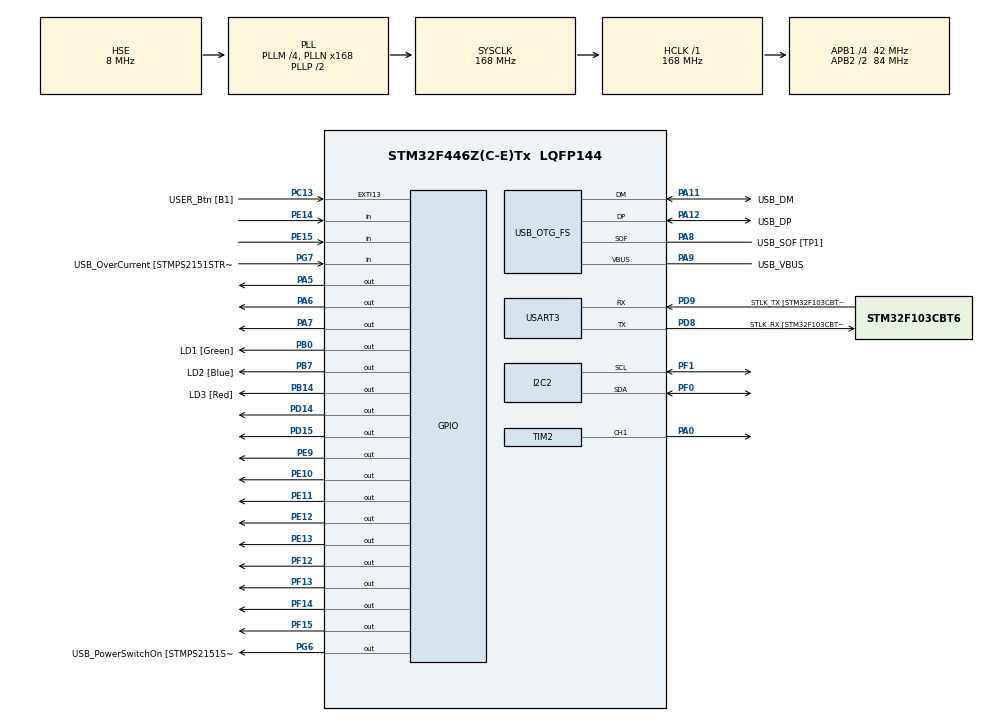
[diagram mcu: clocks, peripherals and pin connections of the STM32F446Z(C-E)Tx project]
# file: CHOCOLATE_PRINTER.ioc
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Mcu.Family=STM32F4
Mcu.Name=STM32F446Z(C-E)Tx
Mcu.Package=LQFP144
NVIC.EXTI15_10_IRQn=true\:0\:0\:false\:false\:true\:true\:true\:true
NVIC.PriorityGroup=NVIC_PRIORITYGROUP_4
PA0-WKUP.Signal=S_TIM2_CH1_ETR
PA10.GPIO_Label=USB_ID
PA10.Signal=USB_OTG_FS_ID
PA11.GPIO_Label=USB_DM
PA11.Mode=Device_Only
PA11.Signal=USB_OTG_FS_DM
PA12.GPIO_Label=USB_DP
PA12.Mode=Device_Only
PA12.Signal=USB_OTG_FS_DP
PA13.GPIO_Label=TMS
PA13.Mode=Serial_Wire
PA13.Signal=SYS_JTMS-SWDIO
PA14.GPIO_Label=TCK
PA14.Mode=Serial_Wire
PA14.Signal=SYS_JTCK-SWCLK
PA5.Signal=GPIO_Output
PA6.Signal=GPIO_Output
PA7.Signal=GPIO_Output
PA8.GPIO_Label=USB_SOF [TP1]
PA8.Mode=Activate_SOF_FS
PA8.Signal=USB_OTG_FS_SOF
PA9.GPIO_Label=USB_VBUS
PA9.Mode=Activate_VBUS
PA9.Signal=USB_OTG_FS_VBUS
PB0.GPIO_Label=LD1 [Green]
PB0.Signal=GPIO_Output
PB14.GPIO_Label=LD3 [Red]
PB14.Signal=GPIO_Output
PB7.GPIO_Label=LD2 [Blue]
PB7.Signal=GPIO_Output
PC13.GPIO_Label=USER_Btn [B1]
PC13.Signal=GPXTI13
PC14-OSC32_IN.Mode=LSE-External-Oscillator
PC14-OSC32_IN.Signal=RCC_OSC32_IN
PC15-OSC32_OUT.Mode=LSE-External-Oscillator
PC15-OSC32_OUT.Signal=RCC_OSC32_OUT
PD14.Signal=GPIO_Output
PD15.Signal=GPIO_Output
PD8.GPIO_Label=STLK_RX [STM32F103CBT6_PA3]
PD8.Mode=Asynchronous
PD8.Signal=USART3_TX
PD9.GPIO_Label=STLK_TX [STM32F103CBT6_PA2]
PD9.Mode=Asynchronous
PD9.Signal=USART3_RX
PE10.Signal=GPIO_Output
PE11.Signal=GPIO_Output
PE12.Signal=GPIO_Output
PE13.Signal=GPIO_Output
PE14.Signal=GPIO_Input
PE15.Signal=GPIO_Input
PE9.Signal=GPIO_Output
PF0.Mode=I2C
PF0.Signal=I2C2_SDA
PF1.Mode=I2C
PF1.Signal=I2C2_SCL
PF12.Signal=GPIO_Output
PF13.Signal=GPIO_Output
PF14.Signal=GPIO_Output
PF15.Signal=GPIO_Output
PG6.GPIO_Label=USB_PowerSwitchOn [STMPS2151STR_EN]
PG6.Signal=GPIO_Output
PG7.GPIO_Label=USB_OverCurrent [STMPS2151STR_FAULT]
PG7.Signal=GPIO_Input
PH0-OSC_IN.GPIO_Label=MCO [STM32F103CBT6_PA8]
PH0-OSC_IN.Mode=HSE-External-Clock-Source
PH0-OSC_IN.Signal=RCC_OSC_IN
PH1-OSC_OUT.Mode=HSE-External-Clock-Source
PH1-OSC_OUT.Signal=RCC_OSC_OUT
ProjectManager.HeapSize=0x200
ProjectManager.StackSize=0x400
ProjectManager.TargetToolchain=STM32CubeIDE
RCC.48MHZClocksFreq_Value=24000000
RCC.AHBFreq_Value=168000000
RCC.APB1CLKDivider=RCC_HCLK_DIV4
RCC.APB1Freq_Value=42000000
RCC.APB1TimFreq_Value=84000000
RCC.APB2CLKDivider=RCC_HCLK_DIV2
RCC.APB2Freq_Value=84000000
RCC.APB2TimFreq_Value=168000000
RCC.CortexFreq_Value=168000000
RCC.HCLKFreq_Value=168000000
RCC.HSE_VALUE=8000000
RCC.HSI_VALUE=16000000
RCC.PLLM=4
RCC.PLLMUL=RCC_PLL_MUL9
RCC.PLLN=168
RCC.PLLQ=7
RCC.PRESCALERUSB=RCC_USBCLKSOURCE_PLL_DIV1_5
RCC.SYSCLKFreq_VALUE=168000000
RCC.SYSCLKSource=RCC_SYSCLKSOURCE_PLLCLK
RCC.SYSCLKSourceVirtual=RCC_SYSCLKSOURCE_PLLCLK
RCC.USBFreq_Value=48000000
RCC.VCOOutputFreq_Value=336000000
SH.S_TIM2_CH1_ETR.0=TIM2_CH1,PWM Generation1 CH1
TIM1.Prescaler=168-1
TIM2.Channel-PWM\ Generation1\ CH1=TIM_CHANNEL_1
TIM2.Period=20000-1
TIM2.Prescaler=168-1
USART3.VirtualMode=VM_ASYNC
USB_OTG_FS.VirtualMode=Device_Only
VP_TIM1_VS_ClockSourceINT.Mode=Internal
VP_TIM2_VS_ClockSourceINT.Mode=Internal
board=NUCLEO-F446ZE

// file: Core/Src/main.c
/* USER CODE BEGIN Header */
/**
  ******************************************************************************
  * @file           : main.c
  * @brief          : Main program body
  ******************************************************************************
  * @attention
  *
  * Copyright (c) 2026 STMicroelectronics.
  * All rights reserved.
  *
  * This software is licensed under terms that can be found in the LICENSE file
  * in the root directory of this software component.
  * If no LICENSE file comes with this software, it is provided AS-IS.
  *
  ******************************************************************************
  */

/*
 * SSD1306 Skeleton Code uses ECE342 Lab Code:
 *
 * ssd1306.c
 * fonts.h
 * ssd1306.h
 *
 * Author: ECE342 Labs
 *
 */
/* USER CODE END Header */
#include "main.h"
#include "image_data.h"
#include "imageConvert.h"
#include <stdbool.h>

I2C_HandleTypeDef hi2c2;

TIM_HandleTypeDef htim1;
TIM_HandleTypeDef htim2;

UART_HandleTypeDef huart3;

PCD_HandleTypeDef hpcd_USB_OTG_FS;

void SystemClock_Config(void);
static void MX_GPIO_Init(void);
static void MX_TIM1_Init(void);
static void MX_USART3_UART_Init(void);
static void MX_USB_OTG_FS_PCD_Init(void);
static void MX_TIM2_Init(void);
static void MX_I2C2_Init(void);

/* USER CODE BEGIN 0 */
#define DIR_PIN_X GPIO_PIN_15
#define DIR_PORT_X GPIOF
#define STEP_PIN_X GPIO_PIN_13
#define STEP_PORT_X GPIOE
#define MS1_PORT_X GPIOF
#define MS1_PIN_X GPIO_PIN_13
#define MS2_PORT_X GPIOE
#define MS2_PIN_X GPIO_PIN_9
#define MS3_PORT_X GPIOE
#define MS3_PIN_X GPIO_PIN_11

#define DIR_PIN_Y GPIO_PIN_6
#define DIR_PORT_Y GPIOA
#define STEP_PIN_Y GPIO_PIN_5
#define STEP_PORT_Y GPIOA

#define DIR_PIN_EXTRUDE GPIO_PIN_12
#define DIR_PORT_EXTRUDE GPIOE
#define STEP_PIN_EXTRUDE GPIO_PIN_10
#define STEP_PORT_EXTRUDE GPIOE

#define ENDSTOPPER_PIN_INPUT_X GPIO_PIN_14
#define ENDSTOPPER_PORT_INPUT_X GPIOE

#define ENDSTOPPER_PIN_INPUT_Y GPIO_PIN_15
#define ENDSTOPPER_PORT_INPUT_Y GPIOE

bool run = false;

// Function to set servo angle
void Set_Servo_Angle(TIM_HandleTypeDef *htim, uint32_t channel, uint8_t angle)
{
    uint32_t pulse = 500 + (angle * (2500 - 500) / 180);
    __HAL_TIM_SET_COMPARE(htim, channel, pulse);
}

void microDelay (uint16_t delay)
{
  __HAL_TIM_SET_COUNTER(&htim1, 0);
  while (__HAL_TIM_GET_COUNTER(&htim1) < delay);
}

void step_X (int steps, uint8_t direction, uint16_t delay) {
 // Set the motor direction
 HAL_GPIO_WritePin(DIR_PORT_X, DIR_PIN_X, direction ? GPIO_PIN_SET : GPIO_PIN_RESET);
 for(int x = 0; x < steps; x++) {
   HAL_GPIO_WritePin(STEP_PORT_X, STEP_PIN_X, GPIO_PIN_SET);
   microDelay(10);
   HAL_GPIO_WritePin(STEP_PORT_X, STEP_PIN_X, GPIO_PIN_RESET);
   microDelay(delay);
 }
}

void step_Y (int steps, uint8_t direction, uint16_t delay) {
  HAL_GPIO_WritePin(DIR_PORT_Y, DIR_PIN_Y, direction ? GPIO_PIN_SET : GPIO_PIN_RESET);
  for(int x=0; x<steps; x++) {
    HAL_GPIO_WritePin(STEP_PORT_Y, STEP_PIN_Y, GPIO_PIN_SET);
    microDelay(10); // Fixed short pulse
    HAL_GPIO_WritePin(STEP_PORT_Y, STEP_PIN_Y, GPIO_PIN_RESET);
    microDelay(delay); // Speed controlstep_X(1, 0, 10);
  }
}

void step_EXTRUDE (int steps, uint8_t direction, uint16_t delay) {
  HAL_GPIO_WritePin(DIR_PORT_EXTRUDE, DIR_PIN_EXTRUDE, direction ? GPIO_PIN_SET : GPIO_PIN_RESET);
  for(int x=0; x<steps; x++) {
    HAL_GPIO_WritePin(STEP_PORT_EXTRUDE, STEP_PIN_EXTRUDE, GPIO_PIN_SET);
    microDelay(10); // Fixed short pulse
    HAL_GPIO_WritePin(STEP_PORT_EXTRUDE, STEP_PIN_EXTRUDE, GPIO_PIN_RESET);
    microDelay(delay); // Speed control
  }
}
/* USER CODE END 0 */

void calibrate(void) // Calibrate motors to end stopper position
{
    static uint8_t calibrated = 0;
    if (calibrated) return;   // already calibrated, do nothing

    GPIO_PinState x_state, y_state;

    GPIO_PinState last_x_state = GPIO_PIN_RESET;
    GPIO_PinState last_y_state = GPIO_PIN_RESET;

    OLED_ShowCalibration(last_x_state, last_y_state);

    do
    {
    	x_state = HAL_GPIO_ReadPin(ENDSTOPPER_PORT_INPUT_X, ENDSTOPPER_PIN_INPUT_X);
        y_state = HAL_GPIO_ReadPin(ENDSTOPPER_PORT_INPUT_Y, ENDSTOPPER_PIN_INPUT_Y);

        if (x_state != last_x_state || y_state != last_y_state)
        {
        	OLED_ShowCalibration(x_state, y_state);
        	last_x_state = x_state;
        	last_y_state = y_state;
        }

        if (x_state == GPIO_PIN_RESET)
        {
            step_X(5, 0, 1000);
        }

        if (y_state == GPIO_PIN_RESET)
        {
            step_Y(5, 0, 1000);
        }

        HAL_Delay(10);

    } while (x_state == GPIO_PIN_RESET || y_state == GPIO_PIN_RESET);

    calibrated = 1;   // mark calibration complete
}

void initial(void){ // Initialize nozzle position
	const int X_step = 1010;
	const int Y_step = 550;

	static uint8_t initialized = 0;
	if (initialized) return;   // already initialized, do nothing
	step_X(X_step, 1, 2000);
	step_Y(Y_step, 1, 2000);

	initialized = 1;
}

void test(void){ // To eyeball how many steps
	const int X_test = 950;
		const int Y_test = 400;

		static uint8_t tested = 0;
		if (tested) return;   // already initialized, do nothing
		step_X(X_test, 0, 2000);
		step_Y(Y_test, 0, 2000);

		tested = 1;
}

void rowByRow_RLE(void)
{
    static uint8_t finish_printing = 0;

    const int pixel_step = 38;
    const int pixel_extrude = 5;

    if (finish_printing) return;

    for (int y = 0; y < IMAGE_HEIGHT; y++)
    {
        int current_x = 0;
        int row_x_moves = 0;

        for (int r = 0; r < run_counts[y]; r++)
        {
            int start  = image_runs[y][r].start;
            int length = image_runs[y][r].length;

            int move_pixels = start - current_x;
            if (move_pixels > 0)
            {
            	if (r > 0)
            	{
            		HAL_Delay(3000);   // only between runs, not before first run
            	}
                step_X(move_pixels * pixel_step, 0, 3000);
                row_x_moves += move_pixels * pixel_step;
                current_x = start;
                HAL_Delay(100);
            }

            for (int i = 0; i < length; i++)
            {
                step_EXTRUDE(pixel_extrude, 1, 10000);
                HAL_Delay(250); // Delay between extruding

                if (i < length - 1)
                {
                    step_X(pixel_step, 0, 5000);
                    row_x_moves += pixel_step;
                    current_x++;
                }

            }
        }

        if (row_x_moves > 0)
        {
            HAL_Delay(3000);
        }

        if (y < IMAGE_HEIGHT - 1)
        {
            HAL_Delay(500);

            if (row_x_moves > 0)
            {
                step_X(row_x_moves, 1, 1000);
            }

            HAL_Delay(100);
            step_Y(16, 0, 20000);
            HAL_Delay(100);
        }

        OLED_ShowProgress((y + 1) * 100 / IMAGE_HEIGHT);
    }

    finish_printing = 1;
}

void finish(void) // Move plate out of the way
{
    static uint8_t finished = 0;
    if (finished) return;   // already calibrated, do nothing

    GPIO_PinState x_state, y_state;

    do
    {
        x_state = HAL_GPIO_ReadPin(ENDSTOPPER_PORT_INPUT_X, ENDSTOPPER_PIN_INPUT_X);
        y_state = HAL_GPIO_ReadPin(ENDSTOPPER_PORT_INPUT_Y, ENDSTOPPER_PIN_INPUT_Y);

        if (x_state == GPIO_PIN_RESET)
        {
            step_X(5, 0, 1000);
        }

        if (y_state == GPIO_PIN_RESET)
        {
            step_Y(5, 0, 1000);
        }

        HAL_Delay(10);

    } while (x_state == GPIO_PIN_RESET || y_state == GPIO_PIN_RESET);

    finishX();

    finished = 1;   // mark calibration complete
}

void finishX(void){
	static uint8_t moved = 0;
	if (moved) return;   // already calibrated, do nothing

	step_X(1150, 1, 2000);

	moved = 1;
}

int main(void)
{

  /* MCU Configuration--------------------------------------------------------*/

  /* Reset of all peripherals, Initializes the Flash interface and the Systick. */
  HAL_Init();

  /* Configure the system clock */
  SystemClock_Config();

  /* Initialize all configured peripherals */
  MX_GPIO_Init();
  MX_TIM1_Init();
  MX_USART3_UART_Init();
  MX_USB_OTG_FS_PCD_Init();
  MX_TIM2_Init();
  MX_I2C2_Init();
  /* USER CODE BEGIN 2 */
  // Start the PWM signal generation
  	 HAL_TIM_PWM_Start(&htim2, TIM_CHANNEL_1);
  // 1. Start the Timer hardware so microDelay works
    HAL_TIM_Base_Start(&htim1);

    // 2. Bring PD14 HIGH to wake up the A4988 driver
    HAL_GPIO_WritePin(GPIOD, GPIO_PIN_14, GPIO_PIN_RESET);

    // Initialize all MS to high
//    HAL_GPIO_WritePin(MS1_PORT_X, MS1_PIN_X, GPIO_PIN_SET);
//    HAL_GPIO_WritePin(MS2_PORT_X, MS2_PIN_X, GPIO_PIN_SET);
//    HAL_GPIO_WritePin(MS3_PORT_X, MS3_PIN_X, GPIO_PIN_SET);

    // Give the driver a tiny moment to wake up
    HAL_Delay(10);
  /* USER CODE END 2 */
    SSD1306_Init();

    OLED_ShowStartScreen();

  /* Infinite loop */
  /* USER CODE BEGIN WHILE */
  while (1)
  {

	  if(run == true){
		  calibrate();
		  HAL_Delay(1000);
		  initial();
		  HAL_Delay(1000);
		  rowByRow_RLE();
		  finish();
		  OLED_ShowEndScreen();
	  }

  }
  /* USER CODE END 3 */
}

void SystemClock_Config(void)
{
  RCC_OscInitTypeDef RCC_OscInitStruct = {0};
  RCC_ClkInitTypeDef RCC_ClkInitStruct = {0};

  /** Configure the main internal regulator output voltage
  */
  __HAL_RCC_PWR_CLK_ENABLE();
  __HAL_PWR_VOLTAGESCALING_CONFIG(PWR_REGULATOR_VOLTAGE_SCALE1);

  /** Initializes the RCC Oscillators according to the specified parameters
  * in the RCC_OscInitTypeDef structure.
  */
  RCC_OscInitStruct.OscillatorType = RCC_OSCILLATORTYPE_HSE;
  RCC_OscInitStruct.HSEState = RCC_HSE_BYPASS;
  RCC_OscInitStruct.PLL.PLLState = RCC_PLL_ON;
  RCC_OscInitStruct.PLL.PLLSource = RCC_PLLSOURCE_HSE;
  RCC_OscInitStruct.PLL.PLLM = 4;
  RCC_OscInitStruct.PLL.PLLN = 168;
  RCC_OscInitStruct.PLL.PLLP = RCC_PLLP_DIV2;
  RCC_OscInitStruct.PLL.PLLQ = 7;
  RCC_OscInitStruct.PLL.PLLR = 2;
  if (HAL_RCC_OscConfig(&RCC_OscInitStruct) != HAL_OK)
  {
    Error_Handler();
  }

  /** Initializes the CPU, AHB and APB buses clocks
  */
  RCC_ClkInitStruct.ClockType = RCC_CLOCKTYPE_HCLK|RCC_CLOCKTYPE_SYSCLK
                              |RCC_CLOCKTYPE_PCLK1|RCC_CLOCKTYPE_PCLK2;
  RCC_ClkInitStruct.SYSCLKSource = RCC_SYSCLKSOURCE_PLLCLK;
  RCC_ClkInitStruct.AHBCLKDivider = RCC_SYSCLK_DIV1;
  RCC_ClkInitStruct.APB1CLKDivider = RCC_HCLK_DIV4;
  RCC_ClkInitStruct.APB2CLKDivider = RCC_HCLK_DIV2;

  if (HAL_RCC_ClockConfig(&RCC_ClkInitStruct, FLASH_LATENCY_5) != HAL_OK)
  {
    Error_Handler();
  }
}

static void MX_I2C2_Init(void)
{

  hi2c2.Instance = I2C2;
  hi2c2.Init.ClockSpeed = 100000;
  hi2c2.Init.DutyCycle = I2C_DUTYCYCLE_2;
  hi2c2.Init.OwnAddress1 = 0;
  hi2c2.Init.AddressingMode = I2C_ADDRESSINGMODE_7BIT;
  hi2c2.Init.DualAddressMode = I2C_DUALADDRESS_DISABLE;
  hi2c2.Init.OwnAddress2 = 0;
  hi2c2.Init.GeneralCallMode = I2C_GENERALCALL_DISABLE;
  hi2c2.Init.NoStretchMode = I2C_NOSTRETCH_DISABLE;
  if (HAL_I2C_Init(&hi2c2) != HAL_OK)
  {
    Error_Handler();
  }

}

static void MX_TIM1_Init(void)
{

  TIM_ClockConfigTypeDef sClockSourceConfig = {0};
  TIM_MasterConfigTypeDef sMasterConfig = {0};

  htim1.Instance = TIM1;
  htim1.Init.Prescaler = 168-1;
  htim1.Init.CounterMode = TIM_COUNTERMODE_UP;
  htim1.Init.Period = 65535;
  htim1.Init.ClockDivision = TIM_CLOCKDIVISION_DIV1;
  htim1.Init.RepetitionCounter = 0;
  htim1.Init.AutoReloadPreload = TIM_AUTORELOAD_PRELOAD_DISABLE;
  if (HAL_TIM_Base_Init(&htim1) != HAL_OK)
  {
    Error_Handler();
  }
  sClockSourceConfig.ClockSource = TIM_CLOCKSOURCE_INTERNAL;
  if (HAL_TIM_ConfigClockSource(&htim1, &sClockSourceConfig) != HAL_OK)
  {
    Error_Handler();
  }
  sMasterConfig.MasterOutputTrigger = TIM_TRGO_RESET;
  sMasterConfig.MasterSlaveMode = TIM_MASTERSLAVEMODE_DISABLE;
  if (HAL_TIMEx_MasterConfigSynchronization(&htim1, &sMasterConfig) != HAL_OK)
  {
    Error_Handler();
  }

}

static void MX_TIM2_Init(void)
{

  TIM_ClockConfigTypeDef sClockSourceConfig = {0};
  TIM_MasterConfigTypeDef sMasterConfig = {0};
  TIM_OC_InitTypeDef sConfigOC = {0};

  htim2.Instance = TIM2;
  htim2.Init.Prescaler = 168-1;
  htim2.Init.CounterMode = TIM_COUNTERMODE_UP;
  htim2.Init.Period = 20000-1;
  htim2.Init.ClockDivision = TIM_CLOCKDIVISION_DIV1;
  htim2.Init.AutoReloadPreload = TIM_AUTORELOAD_PRELOAD_DISABLE;
  if (HAL_TIM_Base_Init(&htim2) != HAL_OK)
  {
    Error_Handler();
  }
  sClockSourceConfig.ClockSource = TIM_CLOCKSOURCE_INTERNAL;
  if (HAL_TIM_ConfigClockSource(&htim2, &sClockSourceConfig) != HAL_OK)
  {
    Error_Handler();
  }
  if (HAL_TIM_PWM_Init(&htim2) != HAL_OK)
  {
    Error_Handler();
  }
  sMasterConfig.MasterOutputTrigger = TIM_TRGO_RESET;
  sMasterConfig.MasterSlaveMode = TIM_MASTERSLAVEMODE_DISABLE;
  if (HAL_TIMEx_MasterConfigSynchronization(&htim2, &sMasterConfig) != HAL_OK)
  {
    Error_Handler();
  }
  sConfigOC.OCMode = TIM_OCMODE_PWM1;
  sConfigOC.Pulse = 0;
  sConfigOC.OCPolarity = TIM_OCPOLARITY_HIGH;
  sConfigOC.OCFastMode = TIM_OCFAST_DISABLE;
  if (HAL_TIM_PWM_ConfigChannel(&htim2, &sConfigOC, TIM_CHANNEL_1) != HAL_OK)
  {
    Error_Handler();
  }
  HAL_TIM_MspPostInit(&htim2);

}

static void MX_USART3_UART_Init(void)
{

  huart3.Instance = USART3;
  huart3.Init.BaudRate = 115200;
  huart3.Init.WordLength = UART_WORDLENGTH_8B;
  huart3.Init.StopBits = UART_STOPBITS_1;
  huart3.Init.Parity = UART_PARITY_NONE;
  huart3.Init.Mode = UART_MODE_TX_RX;
  huart3.Init.HwFlowCtl = UART_HWCONTROL_NONE;
  huart3.Init.OverSampling = UART_OVERSAMPLING_16;
  if (HAL_UART_Init(&huart3) != HAL_OK)
  {
    Error_Handler();
  }

}

static void MX_USB_OTG_FS_PCD_Init(void)
{

  hpcd_USB_OTG_FS.Instance = USB_OTG_FS;
  hpcd_USB_OTG_FS.Init.dev_endpoints = 6;
  hpcd_USB_OTG_FS.Init.speed = PCD_SPEED_FULL;
  hpcd_USB_OTG_FS.Init.dma_enable = DISABLE;
  hpcd_USB_OTG_FS.Init.phy_itface = PCD_PHY_EMBEDDED;
  hpcd_USB_OTG_FS.Init.Sof_enable = ENABLE;
  hpcd_USB_OTG_FS.Init.low_power_enable = DISABLE;
  hpcd_USB_OTG_FS.Init.lpm_enable = DISABLE;
  hpcd_USB_OTG_FS.Init.vbus_sensing_enable = ENABLE;
  hpcd_USB_OTG_FS.Init.use_dedicated_ep1 = DISABLE;
  if (HAL_PCD_Init(&hpcd_USB_OTG_FS) != HAL_OK)
  {
    Error_Handler();
  }

}

static void MX_GPIO_Init(void)
{
  GPIO_InitTypeDef GPIO_InitStruct = {0};

  /* GPIO Ports Clock Enable */
  __HAL_RCC_GPIOC_CLK_ENABLE();
  __HAL_RCC_GPIOF_CLK_ENABLE();
  __HAL_RCC_GPIOH_CLK_ENABLE();
  __HAL_RCC_GPIOA_CLK_ENABLE();
  __HAL_RCC_GPIOB_CLK_ENABLE();
  __HAL_RCC_GPIOE_CLK_ENABLE();
  __HAL_RCC_GPIOD_CLK_ENABLE();
  __HAL_RCC_GPIOG_CLK_ENABLE();

  /*Configure GPIO pin Output Level */
  HAL_GPIO_WritePin(GPIOA, GPIO_PIN_5|GPIO_PIN_6|GPIO_PIN_7, GPIO_PIN_RESET);

  /*Configure GPIO pin Output Level */
  HAL_GPIO_WritePin(GPIOB, LD1_Pin|LD3_Pin|LD2_Pin, GPIO_PIN_RESET);

  /*Configure GPIO pin Output Level */
  HAL_GPIO_WritePin(GPIOF, GPIO_PIN_12|GPIO_PIN_13|GPIO_PIN_14|GPIO_PIN_15, GPIO_PIN_RESET);

  /*Configure GPIO pin Output Level */
  HAL_GPIO_WritePin(GPIOE, GPIO_PIN_9|GPIO_PIN_10|GPIO_PIN_11|GPIO_PIN_12
                          |GPIO_PIN_13, GPIO_PIN_RESET);

  /*Configure GPIO pin Output Level */
  HAL_GPIO_WritePin(GPIOD, GPIO_PIN_14|GPIO_PIN_15, GPIO_PIN_RESET);

  /*Configure GPIO pin Output Level */
  HAL_GPIO_WritePin(USB_PowerSwitchOn_GPIO_Port, USB_PowerSwitchOn_Pin, GPIO_PIN_RESET);

  /*Configure GPIO pin : USER_Btn_Pin */
  GPIO_InitStruct.Pin = USER_Btn_Pin;
  GPIO_InitStruct.Mode = GPIO_MODE_IT_RISING;
  GPIO_InitStruct.Pull = GPIO_NOPULL;
  HAL_GPIO_Init(USER_Btn_GPIO_Port, &GPIO_InitStruct);

  /*Configure GPIO pins : PA5 PA6 PA7 */
  GPIO_InitStruct.Pin = GPIO_PIN_5|GPIO_PIN_6|GPIO_PIN_7;
  GPIO_InitStruct.Mode = GPIO_MODE_OUTPUT_PP;
  GPIO_InitStruct.Pull = GPIO_NOPULL;
  GPIO_InitStruct.Speed = GPIO_SPEED_FREQ_LOW;
  HAL_GPIO_Init(GPIOA, &GPIO_InitStruct);

  /*Configure GPIO pins : LD1_Pin LD3_Pin LD2_Pin */
  GPIO_InitStruct.Pin = LD1_Pin|LD3_Pin|LD2_Pin;
  GPIO_InitStruct.Mode = GPIO_MODE_OUTPUT_PP;
  GPIO_InitStruct.Pull = GPIO_NOPULL;
  GPIO_InitStruct.Speed = GPIO_SPEED_FREQ_LOW;
  HAL_GPIO_Init(GPIOB, &GPIO_InitStruct);

  /*Configure GPIO pins : PF12 PF13 PF14 PF15 */
  GPIO_InitStruct.Pin = GPIO_PIN_12|GPIO_PIN_13|GPIO_PIN_14|GPIO_PIN_15;
  GPIO_InitStruct.Mode = GPIO_MODE_OUTPUT_PP;
  GPIO_InitStruct.Pull = GPIO_NOPULL;
  GPIO_InitStruct.Speed = GPIO_SPEED_FREQ_LOW;
  HAL_GPIO_Init(GPIOF, &GPIO_InitStruct);

  /*Configure GPIO pins : PE9 PE10 PE11 PE12
                           PE13 */
  GPIO_InitStruct.Pin = GPIO_PIN_9|GPIO_PIN_10|GPIO_PIN_11|GPIO_PIN_12
                          |GPIO_PIN_13;
  GPIO_InitStruct.Mode = GPIO_MODE_OUTPUT_PP;
  GPIO_InitStruct.Pull = GPIO_NOPULL;
  GPIO_InitStruct.Speed = GPIO_SPEED_FREQ_LOW;
  HAL_GPIO_Init(GPIOE, &GPIO_InitStruct);

  /*Configure GPIO pins : PE14 PE15 */
  GPIO_InitStruct.Pin = GPIO_PIN_14|GPIO_PIN_15;
  GPIO_InitStruct.Mode = GPIO_MODE_INPUT;
  GPIO_InitStruct.Pull = GPIO_NOPULL;
  HAL_GPIO_Init(GPIOE, &GPIO_InitStruct);

  /*Configure GPIO pins : PD14 PD15 */
  GPIO_InitStruct.Pin = GPIO_PIN_14|GPIO_PIN_15;
  GPIO_InitStruct.Mode = GPIO_MODE_OUTPUT_PP;
  GPIO_InitStruct.Pull = GPIO_NOPULL;
  GPIO_InitStruct.Speed = GPIO_SPEED_FREQ_LOW;
  HAL_GPIO_Init(GPIOD, &GPIO_InitStruct);

  /*Configure GPIO pin : USB_PowerSwitchOn_Pin */
  GPIO_InitStruct.Pin = USB_PowerSwitchOn_Pin;
  GPIO_InitStruct.Mode = GPIO_MODE_OUTPUT_PP;
  GPIO_InitStruct.Pull = GPIO_NOPULL;
  GPIO_InitStruct.Speed = GPIO_SPEED_FREQ_LOW;
  HAL_GPIO_Init(USB_PowerSwitchOn_GPIO_Port, &GPIO_InitStruct);

  /*Configure GPIO pin : USB_OverCurrent_Pin */
  GPIO_InitStruct.Pin = USB_OverCurrent_Pin;
  GPIO_InitStruct.Mode = GPIO_MODE_INPUT;
  GPIO_InitStruct.Pull = GPIO_NOPULL;
  HAL_GPIO_Init(USB_OverCurrent_GPIO_Port, &GPIO_InitStruct);

  /* EXTI interrupt init*/
  HAL_NVIC_SetPriority(EXTI15_10_IRQn, 0, 0);
  HAL_NVIC_EnableIRQ(EXTI15_10_IRQn);

}

void Error_Handler(void)
{
  __disable_irq();
  while (1)
  {
  }
}
